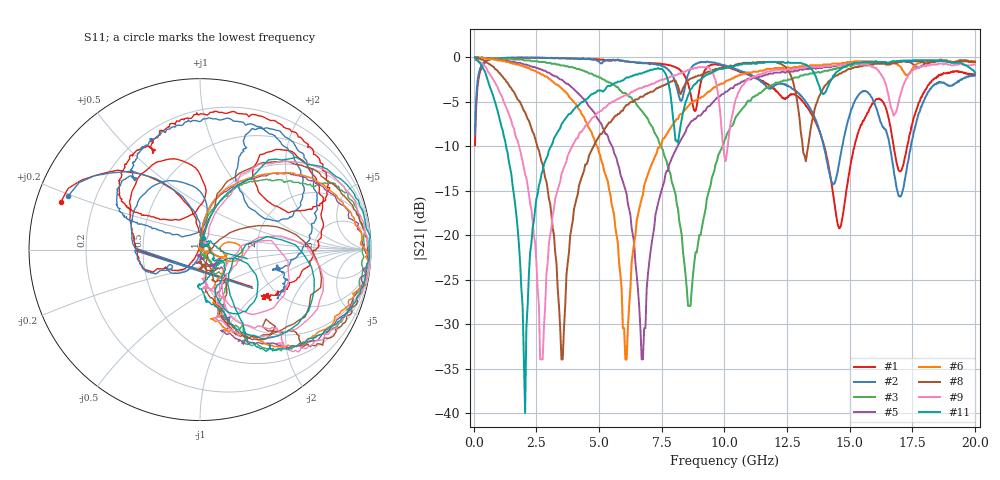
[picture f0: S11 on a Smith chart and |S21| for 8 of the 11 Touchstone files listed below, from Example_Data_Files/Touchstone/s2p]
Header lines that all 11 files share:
#	mhz	s	ma	r	50
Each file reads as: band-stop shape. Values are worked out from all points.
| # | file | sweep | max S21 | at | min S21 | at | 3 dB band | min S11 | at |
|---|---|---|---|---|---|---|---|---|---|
| 1 | L-05B27N_SNT.s2p | 50 MHz to 19.99 GHz | -0.02 dB | 1.93 GHz | -19.2 dB | 14.59 GHz | 170 MHz-8.55 GHz | -44.3 dB | 1.97 GHz |
| 2 | L-05B33N_SNT.s2p | 50 MHz to 19.99 GHz | -0.02 dB | 1.75 GHz | -15.7 dB | 17.01 GHz | 150 MHz-8.05 GHz | -39.8 dB | 1.85 GHz |
| 3 | L-07C2N2_SER.s2p | 50 MHz to 20 GHz | 0.00 dB | 150 MHz | -28.0 dB | 8.6 GHz | 12 GHz-20 GHz | -40.0 dB | 50 MHz |
| 4 | L-07C2N7_SER.s2p | 50 MHz to 20 GHz | 0.00 dB | 50 MHz | -34.0 dB | 7.75 GHz | 12.25 GHz-19.65 GHz | -40.0 dB | 50 MHz |
| 5 | L-07C3N3_SER.s2p | 50 MHz to 20 GHz | 0.00 dB | 150 MHz | -34.0 dB | 6.7 GHz | 10.55 GHz-20 GHz | -40.0 dB | 50 MHz |
| 6 | L-07C3N9_SER.s2p | 50 MHz to 20 GHz | -0.09 dB | 250 MHz | -34.0 dB | 6.05 GHz | 9.85 GHz-20 GHz | -40.0 dB | 50 MHz |
| 7 | L-07C4N7_SER.s2p | 50 MHz to 20 GHz | 0.00 dB | 100 MHz | -34.0 dB | 5.65 GHz | 10.05 GHz-20 GHz | -40.0 dB | 50 MHz |
| 8 | L-07C10N_SER.s2p | 50 MHz to 20 GHz | -0.09 dB | 50 MHz | -34.0 dB | 3.5 GHz | 14.1 GHz-20 GHz | -30.5 dB | 50 MHz |
| 9 | L-07C15N_SER.s2p | 50 MHz to 20 GHz | -0.26 dB | 50 MHz | -34.0 dB | 2.65 GHz | 10.7 GHz-16.45 GHz | -26.0 dB | 50 MHz |
| 10 | L-07C18N_SER.s2p | 50 MHz to 20 GHz | -0.18 dB | 50 MHz | -40.0 dB | 2.35 GHz | 10.2 GHz-16.75 GHz | -26.0 dB | 19.15 GHz |
| 11 | L-07C22N_SER.s2p | 50 MHz to 20 GHz | -0.09 dB | 50 MHz | -40.0 dB | 2.05 GHz | 14.2 GHz-20 GHz | -34.0 dB | 18.3 GHz |
